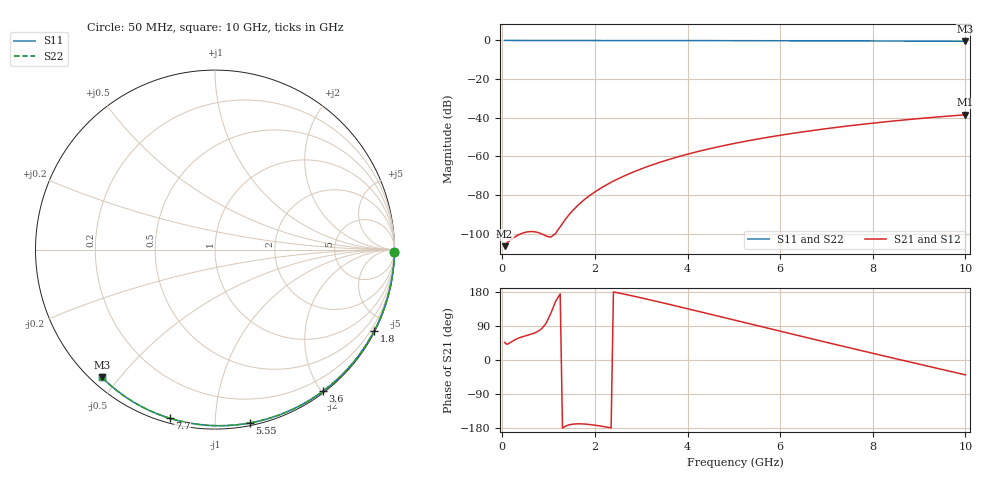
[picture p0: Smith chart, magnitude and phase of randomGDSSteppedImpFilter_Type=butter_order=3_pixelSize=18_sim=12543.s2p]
! freq	dB(S11)	phase(S11)	dB(S12)	phase(S12)
!  dB(S21)	phase(S21)	dB(S22)	phase(S22)
!S-par simulation data
#  GHz  S  DB  R 50
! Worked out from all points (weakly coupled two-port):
!   200 points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, 50 MHz to 10 GHz, reference 50 ohm
!   highest |S21| = -38.47 dB at 10 GHz (marker M1); lowest = -106.4 dB at 50 MHz (marker M2)
!   lowest |S11| = -0.4 dB at 10 GHz (marker M3), VSWR 39.19, Z = 1.53 - j22.5 ohm
!   |S11| at or under -10 dB: nowhere
!   |S22| runs from -0.4 to 0.0 dB; largest |S21 - S12| = 0
!   S11 on the Smith chart (normalised r, x): 50 MHz: open; 1.8 GHz: 0.04, -4.18; 3.6 GHz: 0.02, -2.02; 5.55 GHz: 0.02, -1.22; 7.7 GHz: 0.02, -0.77; 10 GHz: 0.03, -0.45
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0.05  -0.00 -0.8  -106.44 46.5  -106.44 46.5  -0.00 -0.8
0.9  -0.02 -13.6  -100.64 89.7  -100.64 89.7  -0.02 -13.6
1.75  -0.03 -26.2  -82.80 -168.8  -82.80 -168.8  -0.03 -26.2
1.8  -0.03 -26.9  -81.83 -169.2  -81.83 -169.2  -0.03 -26.9
1.9  -0.04 -28.4  -80.02 -170.4  -80.02 -170.4  -0.04 -28.4
2.05  -0.04 -30.6  -77.57 -172.9  -77.57 -172.9  -0.04 -30.6
2.25  -0.04 -33.5  -74.70 -177.0  -74.70 -177.0  -0.04 -33.5
2.45  -0.05 -36.4  -72.17 178.4  -72.17 178.4  -0.05 -36.4
2.65  -0.05 -39.3  -69.91 173.4  -69.91 173.4  -0.05 -39.3
3  -0.06 -44.3  -66.45 164.0  -66.45 164.0  -0.06 -44.3
3.4  -0.07 -49.9  -63.07 152.8  -63.07 152.8  -0.07 -49.9
3.6  -0.07 -52.7  -61.56 147.0  -61.56 147.0  -0.07 -52.7
3.9  -0.08 -56.8  -59.49 138.2  -59.49 138.2  -0.08 -56.8
4.3  -0.09 -62.2  -57.02 126.4  -57.02 126.4  -0.09 -62.2
5.05  -0.11 -72.2  -53.09 104.1  -53.09 104.1  -0.11 -72.2
5.55  -0.13 -78.7  -50.86 89.2  -50.86 89.2  -0.13 -78.7
6.1  -0.15 -85.6  -48.69 72.9  -48.69 72.9  -0.15 -85.6
6.7  -0.18 -93.1  -46.59 55.3  -46.59 55.3  -0.18 -93.1
7.7  -0.24 -105.1  -43.58 26.3  -43.58 26.3  -0.24 -105.1
8.35  -0.29 -112.7  -41.90 7.6  -41.90 7.6  -0.29 -112.7
9.15  -0.36 -121.8  -40.09 -15.2  -40.09 -15.2  -0.36 -121.8
10  -0.44 -131.5  -38.47 -39.2  -38.47 -39.2  -0.44 -131.5
